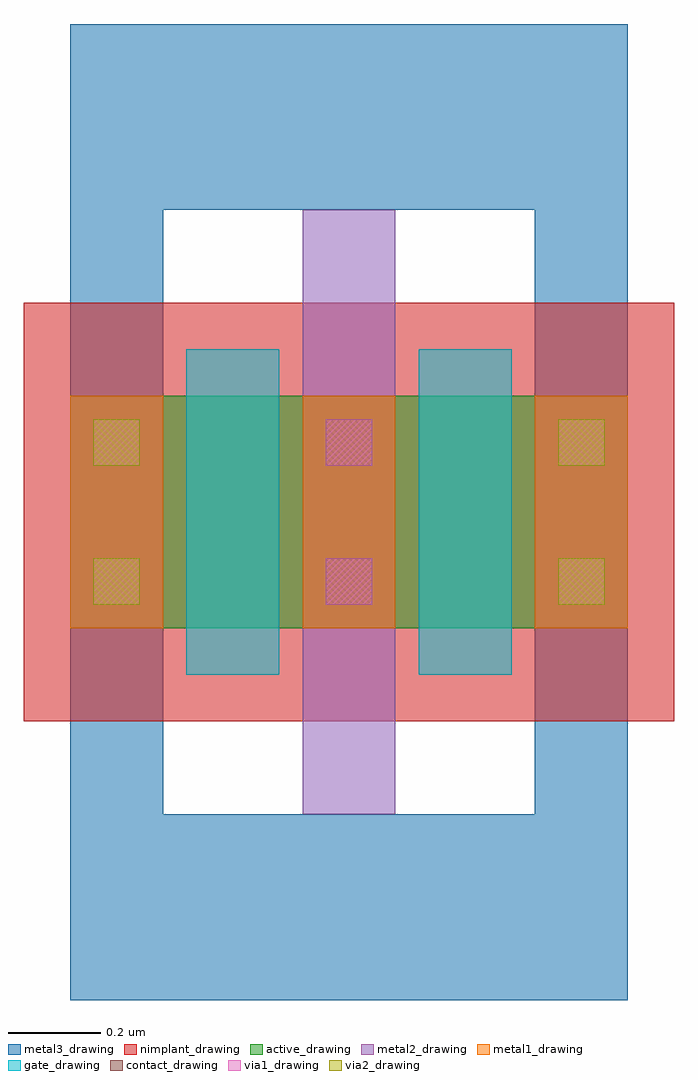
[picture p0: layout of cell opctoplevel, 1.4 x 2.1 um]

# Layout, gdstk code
import gdstk
lib = gdstk.Library(unit=1e-6, precision=1e-09)
def R(c, l, rs):  # rectangles x0, y0, x1, y1
    for r in rs: c.add(gdstk.rectangle(r[:2], r[2:], *l))
def A(c, l, x, y, w, h, nx, ny, dx, dy):  # array of equal rectangles
    R(c, l, [(x+i*dx, y+j*dy, x+i*dx+w, y+j*dy+h) for i in range(nx) for j in range(ny)])
active_drawing = (1, 0)
nimplant_drawing = (5, 0)
gate_drawing = (6, 0)
contact_drawing = (7, 0)
metal1_drawing = (8, 0)
via1_drawing = (9, 0)
metal2_drawing = (10, 0)
via2_drawing = (11, 0)
metal3_drawing = (12, 0)

opctoplevel = lib.new_cell('opctoplevel')
R(opctoplevel, active_drawing, [(-0.25,0,0.95,0.5)])
R(opctoplevel, nimplant_drawing, [(-0.35,-0.2,1.05,0.7)])
R(opctoplevel, gate_drawing, [(0,-0.1,0.2,0.6), (0.5,-0.1,0.7,0.6)])
A(opctoplevel, contact_drawing, -0.2, 0.05, 0.1, 0.1, 3, 2, 0.5, 0.3)
A(opctoplevel, metal1_drawing, -0.25, 0, 0.2, 0.5, 3, 1, 0.5, 0)
A(opctoplevel, via1_drawing, -0.2, 0.05, 0.1, 0.1, 3, 2, 0.5, 0.3)
A(opctoplevel, metal2_drawing, -0.25, 0, 0.2, 0.5, 3, 1, 0.5, 0)
R(opctoplevel, metal2_drawing, [(0.25,-0.4,0.45,-0.2), (0.25,-0.2,0.45,0), (0.25,0.5,0.45,0.7), (0.25,0.7,0.45,0.9)])
R(opctoplevel, via2_drawing, [(-0.2,0.05,-0.1,0.15), (0.8,0.05,0.9,0.15), (-0.2,0.35,-0.1,0.45), (0.8,0.35,0.9,0.45)])
R(opctoplevel, metal3_drawing, [(-0.25,-0.8,0.95,-0.4), (-0.25,-0.4,-0.05,0), (0.75,-0.4,0.95,0), (-0.25,0,-0.05,0.5), (0.75,0,0.95,0.5), (-0.25,0.5,-0.05,0.9), (0.75,0.5,0.95,0.9), (-0.25,0.9,0.95,1.3)])

lib.write_gds('opctoplevel.gds')
